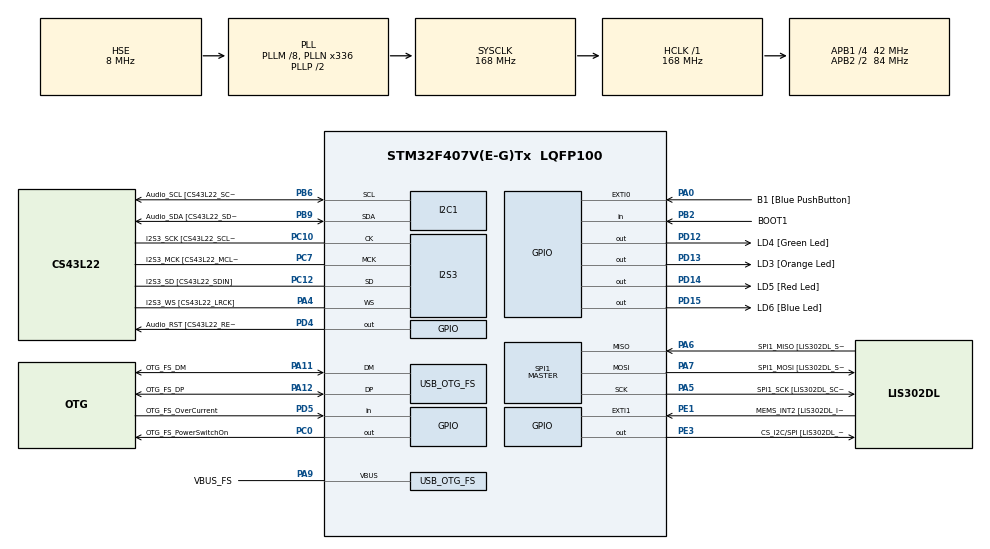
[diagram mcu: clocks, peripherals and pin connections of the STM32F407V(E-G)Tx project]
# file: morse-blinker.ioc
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I2S3.AudioFreq-Half_Duplex_Master=I2S_AUDIOFREQ_96K
I2S3.ErrorAudioFreq=-2.34 %
I2S3.ErrorAudioFreq-Half_Duplex_Master=0.8 %
I2S3.FullDuplexMode=I2S_FULLDUPLEXMODE_DISABLE
I2S3.Instance=SPI$Index
I2S3.RealAudioFreq=93.75 KHz
I2S3.RealAudioFreq-Half_Duplex_Master=96.774 KHz
I2S3.VirtualMode=I2S_MODE_MASTER
Mcu.Family=STM32F4
Mcu.Name=STM32F407V(E-G)Tx
Mcu.Package=LQFP100
NVIC.OTG_FS_IRQn=true\:0\:0\:false\:false\:true\:true\:true\:true
NVIC.PriorityGroup=NVIC_PRIORITYGROUP_0
PA0-WKUP.GPIO_Label=B1 [Blue PushButton]
PA0-WKUP.GPIO_ModeDefaultEXTI=GPIO_MODE_EVT_RISING
PA0-WKUP.GPIO_PuPd=GPIO_NOPULL
PA0-WKUP.Signal=GPXTI0
PA10.GPIO_Label=OTG_FS_ID
PA10.GPIO_Mode=GPIO_MODE_AF_PP
PA10.GPIO_PuPd=GPIO_NOPULL
PA10.GPIO_Speed=GPIO_SPEED_FREQ_LOW
PA10.Signal=USB_OTG_FS_ID
PA11.GPIO_Label=OTG_FS_DM
PA11.GPIO_Mode=GPIO_MODE_AF_PP
PA11.GPIO_PuPd=GPIO_NOPULL
PA11.GPIO_Speed=GPIO_SPEED_FREQ_LOW
PA11.Mode=Host_Only
PA11.Signal=USB_OTG_FS_DM
PA12.GPIO_Label=OTG_FS_DP
PA12.GPIO_Mode=GPIO_MODE_AF_PP
PA12.GPIO_PuPd=GPIO_NOPULL
PA12.GPIO_Speed=GPIO_SPEED_FREQ_LOW
PA12.Mode=Host_Only
PA12.Signal=USB_OTG_FS_DP
PA13.GPIO_Label=SWDIO
PA13.Mode=Serial_Wire
PA13.Signal=SYS_JTMS-SWDIO
PA14.GPIO_Label=SWCLK
PA14.Mode=Serial_Wire
PA14.Signal=SYS_JTCK-SWCLK
PA4.GPIO_Label=I2S3_WS [CS43L22_LRCK]
PA4.GPIO_Mode=GPIO_MODE_AF_PP
PA4.GPIO_PuPd=GPIO_NOPULL
PA4.GPIO_Speed=GPIO_SPEED_FREQ_LOW
PA4.Mode=Half_Duplex_Master
PA4.Signal=I2S3_WS
PA5.GPIO_Label=SPI1_SCK [LIS302DL_SCL/SPC]
PA5.GPIO_Mode=GPIO_MODE_AF_PP
PA5.GPIO_PuPd=GPIO_NOPULL
PA5.GPIO_Speed=GPIO_SPEED_FREQ_LOW
PA5.Mode=Full_Duplex_Master
PA5.Signal=SPI1_SCK
PA6.GPIO_Label=SPI1_MISO [LIS302DL_SDO]
PA6.GPIO_Mode=GPIO_MODE_AF_PP
PA6.GPIO_PuPd=GPIO_NOPULL
PA6.GPIO_Speed=GPIO_SPEED_FREQ_LOW
PA6.Mode=Full_Duplex_Master
PA6.Signal=SPI1_MISO
PA7.GPIO_Label=SPI1_MOSI [LIS302DL_SDA/SDI/SDO]
PA7.GPIO_Mode=GPIO_MODE_AF_PP
PA7.GPIO_PuPd=GPIO_NOPULL
PA7.GPIO_Speed=GPIO_SPEED_FREQ_LOW
PA7.Mode=Full_Duplex_Master
PA7.Signal=SPI1_MOSI
PA9.GPIO_Label=VBUS_FS
PA9.GPIO_Mode=GPIO_MODE_INPUT
PA9.GPIO_PuPd=GPIO_NOPULL
PA9.Mode=Activate_VBUS
PA9.Signal=USB_OTG_FS_VBUS
PB10.GPIO_Label=CLK_IN [MP45DT02_CLK]
PB10.GPIO_Mode=GPIO_MODE_AF_PP
PB10.GPIO_PuPd=GPIO_NOPULL
PB10.GPIO_Speed=GPIO_SPEED_FREQ_LOW
PB10.Signal=I2S2_CK
PB2.GPIO_Label=BOOT1
PB2.GPIO_Mode=GPIO_MODE_INPUT
PB2.GPIO_PuPd=GPIO_NOPULL
PB2.Signal=GPIO_Input
PB3.GPIO_Label=SWO
PB3.Signal=SYS_JTDO-SWO
PB6.GPIO_Label=Audio_SCL [CS43L22_SCL]
PB6.GPIO_Mode=GPIO_MODE_AF_OD
PB6.GPIO_Pu=GPIO_PULLUP
PB6.GPIO_PuPd=GPIO_NOPULL
PB6.GPIO_Speed=GPIO_SPEED_FREQ_LOW
PB6.Mode=I2C
PB6.Signal=I2C1_SCL
PB9.GPIO_Label=Audio_SDA [CS43L22_SDA]
PB9.GPIO_Mode=GPIO_MODE_AF_OD
PB9.GPIO_Pu=GPIO_PULLUP
PB9.GPIO_PuPd=GPIO_NOPULL
PB9.GPIO_Speed=GPIO_SPEED_FREQ_LOW
PB9.Mode=I2C
PB9.Signal=I2C1_SDA
PC0.GPIO_Label=OTG_FS_PowerSwitchOn
PC0.GPIO_PuPd=GPIO_NOPULL
PC0.GPIO_Speed=GPIO_SPEED_FREQ_LOW
PC0.PinState=GPIO_PIN_SET
PC0.Signal=GPIO_Output
PC10.GPIO_Label=I2S3_SCK [CS43L22_SCLK]
PC10.GPIO_Mode=GPIO_MODE_AF_PP
PC10.GPIO_PuPd=GPIO_NOPULL
PC10.GPIO_Speed=GPIO_SPEED_FREQ_LOW
PC10.Mode=Half_Duplex_Master
PC10.Signal=I2S3_CK
PC12.GPIO_Label=I2S3_SD [CS43L22_SDIN]
PC12.GPIO_Mode=GPIO_MODE_AF_PP
PC12.GPIO_PuPd=GPIO_NOPULL
PC12.GPIO_Speed=GPIO_SPEED_FREQ_LOW
PC12.Mode=Half_Duplex_Master
PC12.Signal=I2S3_SD
PC14-OSC32_IN.GPIO_Label=PC14-OSC32_IN
PC14-OSC32_IN.Mode=LSE-External-Oscillator
PC14-OSC32_IN.Signal=RCC_OSC32_IN
PC15-OSC32_OUT.GPIO_Label=PC15-OSC32_OUT
PC15-OSC32_OUT.Mode=LSE-External-Oscillator
PC15-OSC32_OUT.Signal=RCC_OSC32_OUT
PC3.GPIO_Label=PDM_OUT [MP45DT02_DOUT]
PC3.GPIO_Mode=GPIO_MODE_AF_PP
PC3.GPIO_PuPd=GPIO_NOPULL
PC3.GPIO_Speed=GPIO_SPEED_FREQ_LOW
PC3.Signal=I2S2_SD
PC7.GPIO_Label=I2S3_MCK [CS43L22_MCLK]
PC7.GPIO_Mode=GPIO_MODE_AF_PP
PC7.GPIO_PuPd=GPIO_NOPULL
PC7.GPIO_Speed=GPIO_SPEED_FREQ_LOW
PC7.Mode=Master_Clock_Activated
PC7.Signal=I2S3_MCK
PD12.GPIO_Label=LD4 [Green Led]
PD12.GPIO_PuPd=GPIO_NOPULL
PD12.GPIO_Speed=GPIO_SPEED_FREQ_LOW
PD12.Signal=GPIO_Output
PD13.GPIO_Label=LD3 [Orange Led]
PD13.GPIO_PuPd=GPIO_NOPULL
PD13.GPIO_Speed=GPIO_SPEED_FREQ_LOW
PD13.Signal=GPIO_Output
PD14.GPIO_Label=LD5 [Red Led]
PD14.GPIO_PuPd=GPIO_NOPULL
PD14.GPIO_Speed=GPIO_SPEED_FREQ_LOW
PD14.Signal=GPIO_Output
PD15.GPIO_Label=LD6 [Blue Led]
PD15.GPIO_PuPd=GPIO_NOPULL
PD15.GPIO_Speed=GPIO_SPEED_FREQ_LOW
PD15.Signal=GPIO_Output
PD4.GPIO_Label=Audio_RST [CS43L22_RESET]
PD4.GPIO_PuPd=GPIO_NOPULL
PD4.GPIO_Speed=GPIO_SPEED_FREQ_LOW
PD4.Signal=GPIO_Output
PD5.GPIO_Label=OTG_FS_OverCurrent
PD5.GPIO_Mode=GPIO_MODE_INPUT
PD5.GPIO_PuPd=GPIO_NOPULL
PD5.Signal=GPIO_Input
PE1.GPIO_Label=MEMS_INT2 [LIS302DL_INT2]
PE1.GPIO_ModeDefaultEXTI=GPIO_MODE_EVT_RISING
PE1.GPIO_PuPd=GPIO_NOPULL
PE1.Signal=GPXTI1
PE3.GPIO_Label=CS_I2C/SPI [LIS302DL_CS_I2C/SPI]
PE3.GPIO_PuPd=GPIO_NOPULL
PE3.GPIO_Speed=GPIO_SPEED_FREQ_LOW
PE3.Signal=GPIO_Output
PH0-OSC_IN.GPIO_Label=PH0-OSC_IN
PH0-OSC_IN.Mode=HSE-External-Oscillator
PH0-OSC_IN.Signal=RCC_OSC_IN
PH1-OSC_OUT.GPIO_Label=PH1-OSC_OUT
PH1-OSC_OUT.Mode=HSE-External-Oscillator
PH1-OSC_OUT.Signal=RCC_OSC_OUT
ProjectManager.HeapSize=0x200
ProjectManager.StackSize=0x400
ProjectManager.TargetToolchain=CMake
RCC.48MHZClocksFreq_Value=48000000
RCC.AHBFreq_Value=168000000
RCC.APB1CLKDivider=RCC_HCLK_DIV4
RCC.APB1Freq_Value=42000000
RCC.APB1TimFreq_Value=84000000
RCC.APB2CLKDivider=RCC_HCLK_DIV2
RCC.APB2Freq_Value=84000000
RCC.APB2TimFreq_Value=168000000
RCC.CortexFreq_Value=168000000
RCC.HCLKFreq_Value=168000000
RCC.HSE_VALUE=8000000
RCC.HSI_VALUE=16000000
RCC.PLLM=8
RCC.PLLN=336
RCC.PLLQ=7
RCC.SYSCLKFreq_VALUE=168000000
RCC.SYSCLKSource=RCC_SYSCLKSOURCE_PLLCLK
RCC.VCOOutputFreq_Value=336000000
SPI1.BaudRatePrescaler-Full_Duplex_Master=SPI_BAUDRATEPRESCALER_2
SPI1.CalculateBaudRate-Full_Duplex_Master=42.0 MBits/s
SPI1.Direction=SPI_DIRECTION_2LINES
SPI1.Mode=SPI_MODE_MASTER
SPI1.Mode-Full_Duplex_Master=SPI_MODE_MASTER
SPI1.VirtualType=VM_MASTER
USB_HOST.BSP.number=1
USB_HOST.USBH_HandleTypeDef-CDC_FS=hUsbHostFS
USB_HOST.VirtualModeFS=Cdc
USB_HOST0.BSP.STBoard=false
USB_HOST0.BSP.api=Unknown
USB_HOST0.BSP.instance=PC0
USB_HOST0.BSP.ip=GPIO
USB_HOST0.BSP.mode=Output
USB_HOST0.BSP.name=Drive_VBUS_FS
USB_HOST0.BSP.solution=PC0
USB_OTG_FS.VirtualMode=Host_Only
USB_OTG_FS.phy_itface=HCD_PHY_EMBEDDED
VP_USB_HOST_VS_USB_HOST_CDC_FS.Mode=CDC_FS
board=STM32F407G-DISC1

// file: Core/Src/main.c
/* USER CODE BEGIN Header */
/**
  ******************************************************************************
  * @file           : main.c
  * @brief          : Main program body
  ******************************************************************************
  * @attention
  *
  * Copyright (c) 2026 STMicroelectronics.
  * All rights reserved.
  *
  * This software is licensed under terms that can be found in the LICENSE file
  * in the root directory of this software component.
  * If no LICENSE file comes with this software, it is provided AS-IS.
  *
  ******************************************************************************
  */
/* USER CODE END Header */
#include "main.h"
#include "usb_host.h"

/* USER CODE BEGIN Includes */
#include <ctype.h>
#include <string.h>

/* USER CODE END Includes */

/* USER CODE BEGIN PD */
typedef enum { MORSE_DIT = 0, MORSE_DAH = 1 } morse_t;

enum { MORSE_UNIT_MS = 200 };

#define MORSE_LED_PORT LD4_GPIO_Port
#define MORSE_LED_PIN LD4_Pin

/* USER CODE END PD */

I2C_HandleTypeDef hi2c1;

I2S_HandleTypeDef hi2s3;

SPI_HandleTypeDef hspi1;

/* USER CODE BEGIN PV */
static const char *const input = "Hello World!";

#define M(len, bits) ((uint8_t)(((bits) << 3) | (len)))

static const uint8_t morse_table[256] = {
    ['A'] = M(2, 0b01), ['B'] = M(4, 0b1000), ['C'] = M(4, 0b1010),
    ['D'] = M(3, 0b100), ['E'] = M(1, 0b0), ['F'] = M(4, 0b0010),
    ['G'] = M(3, 0b110), ['H'] = M(4, 0b0000), ['I'] = M(2, 0b00),
    ['J'] = M(4, 0b0111), ['K'] = M(3, 0b101), ['L'] = M(4, 0b0100),
    ['M'] = M(2, 0b11), ['N'] = M(2, 0b10), ['O'] = M(3, 0b111),
    ['P'] = M(4, 0b0110), ['Q'] = M(4, 0b1101), ['R'] = M(3, 0b010),
    ['S'] = M(3, 0b000), ['T'] = M(1, 0b1), ['U'] = M(3, 0b001),
    ['V'] = M(4, 0b0001), ['W'] = M(3, 0b011), ['X'] = M(4, 0b1001),
    ['Y'] = M(4, 0b1011), ['Z'] = M(4, 0b1100),

    ['0'] = M(5, 0b11111), ['1'] = M(5, 0b01111), ['2'] = M(5, 0b00111),
    ['3'] = M(5, 0b00011), ['4'] = M(5, 0b00001), ['5'] = M(5, 0b00000),
    ['6'] = M(5, 0b10000), ['7'] = M(5, 0b11000), ['8'] = M(5, 0b11100),
    ['9'] = M(5, 0b11110),
};

#undef M

/* USER CODE END PV */

static void SystemClock_Config(void);

static void MX_GPIO_Init(void);

static void MX_I2C1_Init(void);

static void MX_I2S3_Init(void);

static void MX_SPI1_Init(void);

/* USER CODE BEGIN PFP */
static size_t morse_len(uint8_t code);

static morse_t morse_signal(uint8_t code, size_t i);

/* USER CODE END PFP */

int main(void) {

    /* MCU Configuration--------------------------------------------------------*/

    /* Reset of all peripherals, Initializes the Flash interface and the Systick. */
    HAL_Init();

    /* Configure the system clock */
    SystemClock_Config();

    /* Initialize all configured peripherals */
    MX_GPIO_Init();
    MX_I2C1_Init();
    MX_I2S3_Init();
    MX_SPI1_Init();
    MX_USB_HOST_Init();
    /* USER CODE BEGIN 2 */
    size_t index = 0;
    const size_t input_size = strlen(input);

    /* USER CODE END 2 */

    /* Infinite loop */
    while (1) {
        MX_USB_HOST_Process();

        /* USER CODE BEGIN 3 */
        if (index >= input_size) continue;

        const unsigned char ch = (unsigned char) input[index++];

        if (ch == ' ') {
            HAL_Delay(4 * MORSE_UNIT_MS);
            continue;
        }

        const uint8_t code = morse_table[toupper(ch)];
        const size_t code_len = morse_len(code);

        for (size_t i = 0; i < code_len; i++) {
            HAL_GPIO_WritePin(MORSE_LED_PORT, MORSE_LED_PIN, GPIO_PIN_SET);
            HAL_Delay((morse_signal(code, i) == MORSE_DIT ? 1 : 3) * MORSE_UNIT_MS);
            HAL_GPIO_WritePin(MORSE_LED_PORT, MORSE_LED_PIN, GPIO_PIN_RESET);
            HAL_Delay(MORSE_UNIT_MS);
        }

        if (code_len != 0) {
            HAL_Delay(2 * MORSE_UNIT_MS);
        }
    }

    /* USER CODE END 3 */
}

void SystemClock_Config(void) {
    RCC_OscInitTypeDef RCC_OscInitStruct = {0};
    RCC_ClkInitTypeDef RCC_ClkInitStruct = {0};

    /** Configure the main internal regulator output voltage
      */
    __HAL_RCC_PWR_CLK_ENABLE();
    __HAL_PWR_VOLTAGESCALING_CONFIG(PWR_REGULATOR_VOLTAGE_SCALE1);

    /** Initializes the RCC Oscillators according to the specified parameters
      * in the RCC_OscInitTypeDef structure.
      */
    RCC_OscInitStruct.OscillatorType = RCC_OSCILLATORTYPE_HSE;
    RCC_OscInitStruct.HSEState = RCC_HSE_ON;
    RCC_OscInitStruct.PLL.PLLState = RCC_PLL_ON;
    RCC_OscInitStruct.PLL.PLLSource = RCC_PLLSOURCE_HSE;
    RCC_OscInitStruct.PLL.PLLM = 8;
    RCC_OscInitStruct.PLL.PLLN = 336;
    RCC_OscInitStruct.PLL.PLLP = RCC_PLLP_DIV2;
    RCC_OscInitStruct.PLL.PLLQ = 7;
    if (HAL_RCC_OscConfig(&RCC_OscInitStruct) != HAL_OK) {
        Error_Handler();
    }

    /** Initializes the CPU, AHB and APB buses clocks
      */
    RCC_ClkInitStruct.ClockType = RCC_CLOCKTYPE_HCLK | RCC_CLOCKTYPE_SYSCLK | RCC_CLOCKTYPE_PCLK1 | RCC_CLOCKTYPE_PCLK2;
    RCC_ClkInitStruct.SYSCLKSource = RCC_SYSCLKSOURCE_PLLCLK;
    RCC_ClkInitStruct.AHBCLKDivider = RCC_SYSCLK_DIV1;
    RCC_ClkInitStruct.APB1CLKDivider = RCC_HCLK_DIV4;
    RCC_ClkInitStruct.APB2CLKDivider = RCC_HCLK_DIV2;

    if (HAL_RCC_ClockConfig(&RCC_ClkInitStruct, FLASH_LATENCY_5) != HAL_OK) {
        Error_Handler();
    }
}

static void MX_I2C1_Init(void) {

    hi2c1.Instance = I2C1;
    hi2c1.Init.ClockSpeed = 100000;
    hi2c1.Init.DutyCycle = I2C_DUTYCYCLE_2;
    hi2c1.Init.OwnAddress1 = 0;
    hi2c1.Init.AddressingMode = I2C_ADDRESSINGMODE_7BIT;
    hi2c1.Init.DualAddressMode = I2C_DUALADDRESS_DISABLE;
    hi2c1.Init.OwnAddress2 = 0;
    hi2c1.Init.GeneralCallMode = I2C_GENERALCALL_DISABLE;
    hi2c1.Init.NoStretchMode = I2C_NOSTRETCH_DISABLE;
    if (HAL_I2C_Init(&hi2c1) != HAL_OK) {
        Error_Handler();
    }
}

static void MX_I2S3_Init(void) {

    hi2s3.Instance = SPI3;
    hi2s3.Init.Mode = I2S_MODE_MASTER_TX;
    hi2s3.Init.Standard = I2S_STANDARD_PHILIPS;
    hi2s3.Init.DataFormat = I2S_DATAFORMAT_16B;
    hi2s3.Init.MCLKOutput = I2S_MCLKOUTPUT_ENABLE;
    hi2s3.Init.AudioFreq = I2S_AUDIOFREQ_96K;
    hi2s3.Init.CPOL = I2S_CPOL_LOW;
    hi2s3.Init.ClockSource = I2S_CLOCK_PLL;
    hi2s3.Init.FullDuplexMode = I2S_FULLDUPLEXMODE_DISABLE;
    if (HAL_I2S_Init(&hi2s3) != HAL_OK) {
        Error_Handler();
    }
}

static void MX_SPI1_Init(void) {

    /* SPI1 parameter configuration*/
    hspi1.Instance = SPI1;
    hspi1.Init.Mode = SPI_MODE_MASTER;
    hspi1.Init.Direction = SPI_DIRECTION_2LINES;
    hspi1.Init.DataSize = SPI_DATASIZE_8BIT;
    hspi1.Init.CLKPolarity = SPI_POLARITY_LOW;
    hspi1.Init.CLKPhase = SPI_PHASE_1EDGE;
    hspi1.Init.NSS = SPI_NSS_SOFT;
    hspi1.Init.BaudRatePrescaler = SPI_BAUDRATEPRESCALER_2;
    hspi1.Init.FirstBit = SPI_FIRSTBIT_MSB;
    hspi1.Init.TIMode = SPI_TIMODE_DISABLE;
    hspi1.Init.CRCCalculation = SPI_CRCCALCULATION_DISABLE;
    hspi1.Init.CRCPolynomial = 10;
    if (HAL_SPI_Init(&hspi1) != HAL_OK) {
        Error_Handler();
    }
}

static void MX_GPIO_Init(void) {
    GPIO_InitTypeDef GPIO_InitStruct = {0};

    /* GPIO Ports Clock Enable */
    __HAL_RCC_GPIOE_CLK_ENABLE();
    __HAL_RCC_GPIOC_CLK_ENABLE();
    __HAL_RCC_GPIOH_CLK_ENABLE();
    __HAL_RCC_GPIOA_CLK_ENABLE();
    __HAL_RCC_GPIOB_CLK_ENABLE();
    __HAL_RCC_GPIOD_CLK_ENABLE();

    /*Configure GPIO pin Output Level */
    HAL_GPIO_WritePin(CS_I2C_SPI_GPIO_Port, CS_I2C_SPI_Pin, GPIO_PIN_RESET);

    /*Configure GPIO pin Output Level */
    HAL_GPIO_WritePin(OTG_FS_PowerSwitchOn_GPIO_Port, OTG_FS_PowerSwitchOn_Pin, GPIO_PIN_SET);

    /*Configure GPIO pin Output Level */
    HAL_GPIO_WritePin(GPIOD, LD4_Pin | LD3_Pin | LD5_Pin | LD6_Pin | Audio_RST_Pin, GPIO_PIN_RESET);

    /*Configure GPIO pin : CS_I2C_SPI_Pin */
    GPIO_InitStruct.Pin = CS_I2C_SPI_Pin;
    GPIO_InitStruct.Mode = GPIO_MODE_OUTPUT_PP;
    GPIO_InitStruct.Pull = GPIO_NOPULL;
    GPIO_InitStruct.Speed = GPIO_SPEED_FREQ_LOW;
    HAL_GPIO_Init(CS_I2C_SPI_GPIO_Port, &GPIO_InitStruct);

    /*Configure GPIO pin : OTG_FS_PowerSwitchOn_Pin */
    GPIO_InitStruct.Pin = OTG_FS_PowerSwitchOn_Pin;
    GPIO_InitStruct.Mode = GPIO_MODE_OUTPUT_PP;
    GPIO_InitStruct.Pull = GPIO_NOPULL;
    GPIO_InitStruct.Speed = GPIO_SPEED_FREQ_LOW;
    HAL_GPIO_Init(OTG_FS_PowerSwitchOn_GPIO_Port, &GPIO_InitStruct);

    /*Configure GPIO pin : PDM_OUT_Pin */
    GPIO_InitStruct.Pin = PDM_OUT_Pin;
    GPIO_InitStruct.Mode = GPIO_MODE_AF_PP;
    GPIO_InitStruct.Pull = GPIO_NOPULL;
    GPIO_InitStruct.Speed = GPIO_SPEED_FREQ_LOW;
    GPIO_InitStruct.Alternate = GPIO_AF5_SPI2;
    HAL_GPIO_Init(PDM_OUT_GPIO_Port, &GPIO_InitStruct);

    /*Configure GPIO pin : B1_Pin */
    GPIO_InitStruct.Pin = B1_Pin;
    GPIO_InitStruct.Mode = GPIO_MODE_EVT_RISING;
    GPIO_InitStruct.Pull = GPIO_NOPULL;
    HAL_GPIO_Init(B1_GPIO_Port, &GPIO_InitStruct);

    /*Configure GPIO pin : BOOT1_Pin */
    GPIO_InitStruct.Pin = BOOT1_Pin;
    GPIO_InitStruct.Mode = GPIO_MODE_INPUT;
    GPIO_InitStruct.Pull = GPIO_NOPULL;
    HAL_GPIO_Init(BOOT1_GPIO_Port, &GPIO_InitStruct);

    /*Configure GPIO pin : CLK_IN_Pin */
    GPIO_InitStruct.Pin = CLK_IN_Pin;
    GPIO_InitStruct.Mode = GPIO_MODE_AF_PP;
    GPIO_InitStruct.Pull = GPIO_NOPULL;
    GPIO_InitStruct.Speed = GPIO_SPEED_FREQ_LOW;
    GPIO_InitStruct.Alternate = GPIO_AF5_SPI2;
    HAL_GPIO_Init(CLK_IN_GPIO_Port, &GPIO_InitStruct);

    /*Configure GPIO pins : LD4_Pin LD3_Pin LD5_Pin LD6_Pin Audio_RST_Pin */
    GPIO_InitStruct.Pin = LD4_Pin | LD3_Pin | LD5_Pin | LD6_Pin | Audio_RST_Pin;
    GPIO_InitStruct.Mode = GPIO_MODE_OUTPUT_PP;
    GPIO_InitStruct.Pull = GPIO_NOPULL;
    GPIO_InitStruct.Speed = GPIO_SPEED_FREQ_LOW;
    HAL_GPIO_Init(GPIOD, &GPIO_InitStruct);

    /*Configure GPIO pin : OTG_FS_OverCurrent_Pin */
    GPIO_InitStruct.Pin = OTG_FS_OverCurrent_Pin;
    GPIO_InitStruct.Mode = GPIO_MODE_INPUT;
    GPIO_InitStruct.Pull = GPIO_NOPULL;
    HAL_GPIO_Init(OTG_FS_OverCurrent_GPIO_Port, &GPIO_InitStruct);

    /*Configure GPIO pin : MEMS_INT2_Pin */
    GPIO_InitStruct.Pin = MEMS_INT2_Pin;
    GPIO_InitStruct.Mode = GPIO_MODE_EVT_RISING;
    GPIO_InitStruct.Pull = GPIO_NOPULL;
    HAL_GPIO_Init(MEMS_INT2_GPIO_Port, &GPIO_InitStruct);

}

/* USER CODE BEGIN 4 */
static size_t morse_len(const uint8_t code) { return code & 0b00000111; }

static morse_t morse_signal(const uint8_t code, const size_t i) {
    const size_t len = morse_len(code);
    const uint8_t bits = code >> 3;
    return (morse_t) ((bits >> (len - 1 - i)) & 1u);
}

/* USER CODE END 4 */

void Error_Handler(void) {
    __disable_irq();
    while (1) {
    }
}
